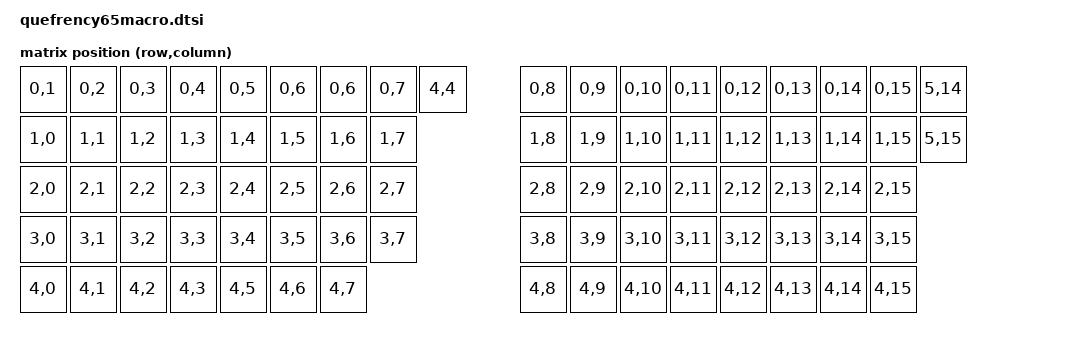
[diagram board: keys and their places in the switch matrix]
#include <dt-bindings/zmk/matrix_transform.h>

/ {
    chosen {
        zmk,kscan = &kscan0;
        zmk,matrix_transform = &default_transform;
    };

    default_transform: keymap_transform_0 {
        compatible = "zmk,matrix-transform";
        columns = <16>;
        rows = <6>;
// | A8 | A1 | A2 | A3 | A4 | A5 | A6 | A7 | A9 |                                   | A1 | A2 | A3 | A4 | A5 | A6 | A7 | A8 | A9 |
// | B8 | B1 | B2 | B3 | B4 | B5 | B6 | B9 |                                        | B1 | B2 | B3 | B4 | B5 | B6 | B7 | B8 | B9 |
// | C8 | C1 | C2 | C3 | C4 | C5 | C6 | C9 |                                        | C1 | C2 | C3 | C4 | C5 | C6 | C9 | C8 |
// | D8 | D1 | D9 | D3 | D4 | D5 | D6 | D7 |                                        | D1 | D2 | D3 | D4 | D9 | D6 | D7 | D8 |
// | E8 | E1 | E2 | E3 | E5 | E9 | E7 |                                             | E1 | E2 | E9 | E4 | E5 | E6 | E7 | E8 |
        map = <
RC(0,1) RC(0,2) RC(0,3) RC(0,4) RC(0,5) RC(0,6) RC(0,6) RC(0,7) RC(4,4)             RC(0,8) RC(0,9) RC(0,10) RC(0,11) RC(0,12) RC(0,13) RC(0,14) RC(0,15) RC(5,14)
RC(1,0) RC(1,1) RC(1,2) RC(1,3) RC(1,4) RC(1,5) RC(1,6) RC(1,7)                     RC(1,8) RC(1,9) RC(1,10) RC(1,11) RC(1,12) RC(1,13) RC(1,14) RC(1,15) RC(5,15)
RC(2,0) RC(2,1) RC(2,2) RC(2,3) RC(2,4) RC(2,5) RC(2,6) RC(2,7)                     RC(2,8) RC(2,9) RC(2,10) RC(2,11) RC(2,12) RC(2,13) RC(2,14) RC(2,15)
RC(3,0) RC(3,1) RC(3,2) RC(3,3) RC(3,4) RC(3,5) RC(3,6) RC(3,7)                     RC(3,8) RC(3,9) RC(3,10) RC(3,11) RC(3,12) RC(3,13) RC(3,14) RC(3,15)
RC(4,0) RC(4,1) RC(4,2) RC(4,3) RC(4,5) RC(4,6) RC(4,7)                             RC(4,8) RC(4,9) RC(4,10) RC(4,11) RC(4,12) RC(4,13) RC(4,14) RC(4,15)
        >;
    };
    
};
